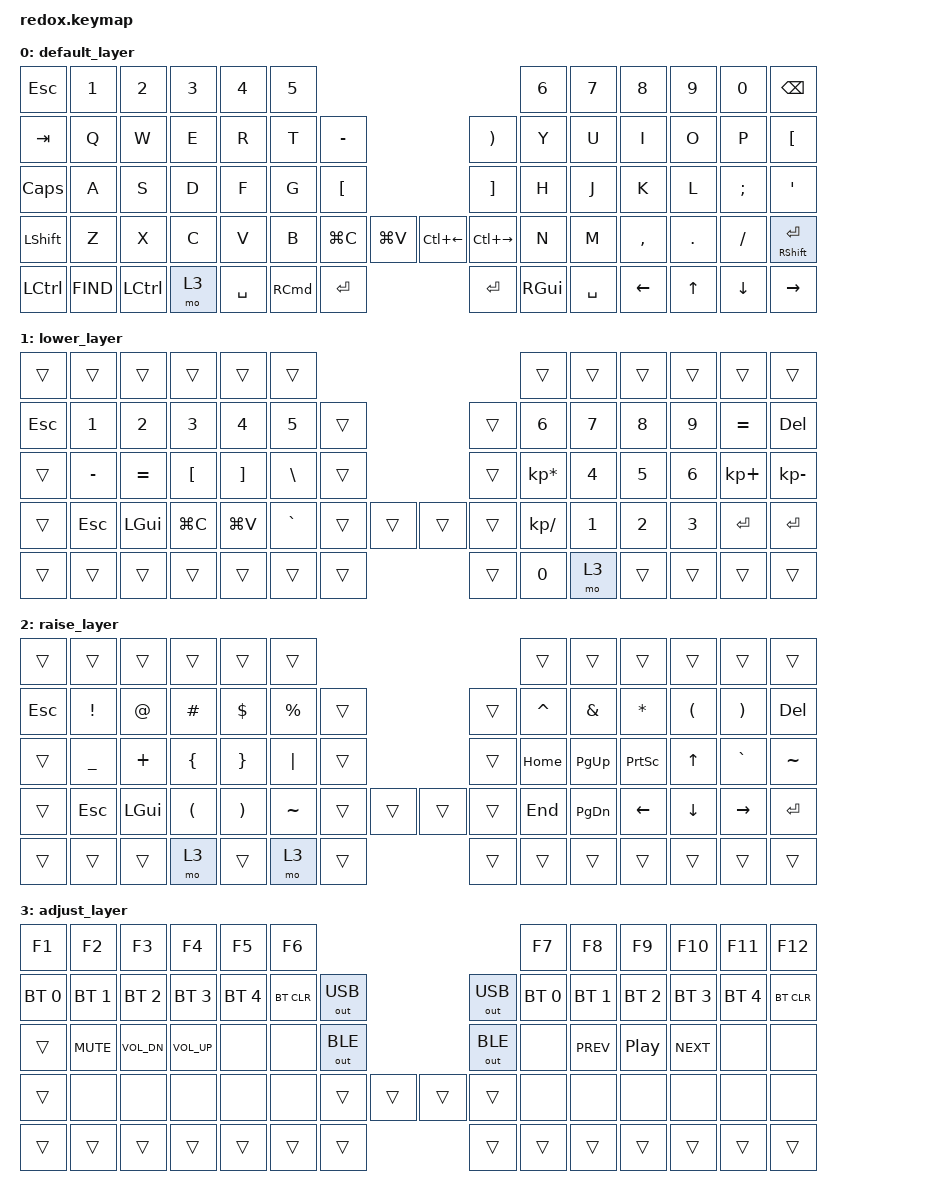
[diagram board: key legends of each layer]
/*
 * Copyright (c) 2021 The ZMK Contributors
 *
 * SPDX-License-Identifier: MIT
 */

#include <behaviors.dtsi>
#include <dt-bindings/zmk/bt.h>
#include <dt-bindings/zmk/keys.h>
#include <dt-bindings/zmk/outputs.h>

/ {
    combos {
        compatible = "zmk,combos";

        copy {
            bindings = <&none>;
            key-positions = <60 43>;
        };

        paste {
            bindings = <&none>;
            key-positions = <60 44>;
        };
    };

    macros {
        copy: copy {
            compatible = "zmk,behavior-macro";
            #binding-cells = <0>;
            bindings = <&kp LEFT_COMMAND &kp C>, <&macro_press>, <&macro_press>;

            label = "COPY";
        };

        paste: paste {
            compatible = "zmk,behavior-macro";
            #binding-cells = <0>;
            bindings = <&kp LEFT_COMMAND &kp V>;
            label = "PASTE";
        };

        screen_left: screen_left {
            compatible = "zmk,behavior-macro";
            #binding-cells = <0>;
            bindings = <&kp RIGHT_CONTROL &kp LEFT_ARROW>;
            label = "SCREEN_LEFT";
        };

        screen_right: screen_right {
            compatible = "zmk,behavior-macro";
            #binding-cells = <0>;
            bindings = <&kp RIGHT_CONTROL &kp RIGHT_ARROW>;
            label = "SCREEN_RIGHT";
        };

        new_macro: new_macro {
            compatible = "zmk,behavior-macro";
            #binding-cells = <0>;
            bindings = <&kp LEFT_COMMAND &kp C>, <&macro_press>;

            label = "NEW_MACRO";
        };
    };

    keymap {
        compatible = "zmk,keymap";

        default_layer {
            // --------------------------------------------------------------------------------------------------------------------------------
            // | ESC   |  1  |  2  |   3   |  4  |  5  |                                  |  6     |  7    |  8    |  9   | 0  |    BKSP   |
            // | TAB   |  Q  |  W  |   E   |  R  |  T  |   (   |                  |  )    |  Y     |  U    |  I    |  O   | P  |     -     |
            // | CTRL  |  A  |  S  |   D   |  F  |  G  |   [   |                  |  ]    |  H     |  J    |  K    |  L   | ;  |     '     |
            // | SHIFT |  Z  |  X  |   C   |  V  |  B  | PG_UP | PG_DOWN |   HOME | END   |  N     |  M    |  ,    |  .   | /  | SHFT(RET) |
            // | CRTL  | ALT | GUI | LOWER |    GUI    | LOWER | SPACE   |   DEL  | SPACE |  RAISE | LEFT  | DOWN | UP |   RIGHT   |

            bindings = <
&kp ESC       &kp N1      &kp N2            &kp N3  &kp N4  &kp N5                                                                            &kp N6             &kp N7  &kp N8          &kp N9        &kp N0          &kp BSPC
&kp TAB       &kp Q       &kp W             &kp E   &kp R   &kp T      &kp MINUS                                         &kp RPAR             &kp Y              &kp U   &kp I           &kp O         &kp P           &kp LBKT
&kp CAPSLOCK  &kp A       &kp S             &kp D   &kp F   &kp G      &kp LBKT                                          &kp RBKT             &kp H              &kp J   &kp K           &kp L         &kp SEMI        &kp SQT
&kp LSHFT     &kp Z       &kp X             &kp C   &kp V   &kp B      &kp LG(C)          &kp LG(V)  &kp LC(LEFT_ARROW)  &kp LC(RIGHT_ARROW)  &kp N              &kp M   &kp COMMA       &kp DOT       &kp FSLH        &mt RSHFT RET
&kp LCTRL     &kp K_FIND  &kp LEFT_CONTROL  &mo 3           &kp SPACE  &kp RIGHT_COMMAND  &kp ENTER  &kp ENTER           &kp RIGHT_GUI                &kp SPACE          &kp LEFT_ARROW  &kp UP_ARROW  &kp DOWN_ARROW  &kp RIGHT
            >;
        };

        lower_layer {
            // --------------------------------------------------------------------------------------------------------------------------
            // | ESC   |  1  |  2  |   3   |   4   |  5  |                   ---              |  6  |  7  |   8  |  9   |  0  |  DEL  |
            // | ESC   |  1  |  2  |   3   |   4   |  5  |   (   |           ---        |  )  |  6  |  7  |   8  |  9   |  0  |  DEL  |
            // | CTRL  |  -  |  =  |   [   |   ]   |  \  |   [   |           ---        |  ]  |  *  |  4  |   5  |  6   |  +  |   -   |
            // | SHIFT | ESC | GUI | COPY  | PASTE |     | PG_UP | PG_DOWN | --- | HOME | END |  \  |  1  |   2  |  3   | RET |  RET  |
            // | CRTL  | ALT | GUI | LOWER |     GUI     | LOWER | SPACE   | --- | DEL  |  0  |    RAISE  | LEFT | DOWN | UP  | RIGHT |

            bindings = <
&trans   &trans     &trans     &trans     &trans     &trans                                     &trans                  &trans  &trans  &trans  &trans       &trans
&kp ESC  &kp N1     &kp N2     &kp N3     &kp N4     &kp N5     &trans                  &trans  &kp N6                  &kp N7  &kp N8  &kp N9  &kp EQUAL    &kp DEL
&trans   &kp MINUS  &kp EQUAL  &kp LBKT   &kp RBKT   &kp BSLH   &trans                  &trans  &kp KP_MULTIPLY         &kp N4  &kp N5  &kp N6  &kp KP_PLUS  &kp KP_MINUS
&trans   &kp ESC    &kp LGUI   &kp LG(C)  &kp LG(V)  &kp GRAVE  &trans  &trans  &trans  &trans  &kp KP_DIVIDE           &kp N1  &kp N2  &kp N3  &kp RET      &kp RET
&trans   &trans     &trans     &trans                &trans     &trans  &trans  &trans  &kp N0                   &mo 3          &trans  &trans  &trans       &trans
            >;
        };

        raise_layer {
            // ----------------------------------------------------------------------------------------------------------------------------
            // | ESC   |  1  |  2  |   3   |  4  |  5  |                   ---                |  6   |  7   |  8   |  9   |  0    |  DEL  |
            // | ESC   |  !  |  @  |   #   |  $  |  %  |   (   |           ---        |  )    |  ^   |  &   |  *   |  (   |  )    |  DEL  |
            // | CTRL  |  _  |  +  |   {   |  }  | "|" |   [   |           ---        |  ]    | HOME | PGUP | PRSC | UP   |  `    |   ~   |
            // | SHIFT | ESC | GUI |   (   |  )  |     | PG_UP | PG_DOWN | --- | HOME | END   | END  | PGDN | LEFT | DOWN | RIGHT |  RET  |
            // | CRTL  | ALT | GUI | LOWER |    GUI    | LOWER | SPACE   | --- | DEL  | SPACE |    RAISE    | LEFT | DOWN | UP    | RIGHT |

            bindings = <
&trans   &trans     &trans    &trans    &trans    &trans                                     &trans             &trans     &trans     &trans    &trans     &trans
&kp ESC  &kp EXCL   &kp AT    &kp HASH  &kp DLLR  &kp PRCNT  &trans                  &trans  &kp CARET          &kp AMPS   &kp ASTRK  &kp LPAR  &kp RPAR   &kp DEL
&trans   &kp UNDER  &kp PLUS  &kp LBRC  &kp RBRC  &kp PIPE   &trans                  &trans  &kp HOME           &kp PG_UP  &kp PSCRN  &kp UP    &kp GRAVE  &kp TILDE
&trans   &kp ESC    &kp LGUI  &kp LPAR  &kp RPAR  &kp TILDE  &trans  &trans  &trans  &trans  &kp END            &kp PG_DN  &kp LEFT   &kp DOWN  &kp RIGHT  &kp RET
&trans   &trans     &trans    &mo 3               &trans     &mo 3   &trans  &trans  &trans             &trans             &trans     &trans    &trans     &trans
            >;
        };

        adjust_layer {
            // -----------------------------------------------------------------------------------------
            // |  F1   |  F2   |    F3    |    F4     |     F5     | F6 |                   ---                | F7  | F8  |  F9  |  F10 | F11 | F12        |
            // | TAB   |       |          |           |            |    | BOOTL |           ---        |  )    | BT1 | BT2 |  BT3 |  BT4 | BT5 | OUTPUT TGL |
            // | CTRL  | MUTE  |  Vol Dn  |  Vol Up   | Play/Pause |    | RESET |           ---        |  ]    | F1  | F2  |  F3  |  F4  | F5  | F6         |
            // | SHIFT | PSCRN |  PSCRN   |   CAPS    |            |    | PG_UP | PG_DOWN | --- | HOME | END   | F7  | F8  |  F9  |  F10 | F11 | F12        |
            // | CRTL  | ALT   |  GUI     |   LOWER   |      GUI        | LOWER | SPACE   | --- | DEL  | SPACE |   RAISE   | LEFT | DOWN | UP  |   RIGHT    |

            bindings = <
&kp F1        &kp F2        &kp F3        &kp F4        &kp F5        &kp F6                                                  &kp F7                &kp F8        &kp F9        &kp F10       &kp F11       &kp F12
&bt BT_SEL 0  &bt BT_SEL 1  &bt BT_SEL 2  &bt BT_SEL 3  &bt BT_SEL 4  &bt BT_CLR  &out OUT_USB                  &out OUT_USB  &bt BT_SEL 0          &bt BT_SEL 1  &bt BT_SEL 2  &bt BT_SEL 3  &bt BT_SEL 4  &bt BT_CLR
&trans        &kp K_MUTE    &kp C_VOL_DN  &kp C_VOL_UP  &none         &none       &out OUT_BLE                  &out OUT_BLE  &none                 &kp C_PREV    &kp C_PP      &kp C_NEXT    &none         &none
&trans        &none         &none         &none         &none         &none       &trans        &trans  &trans  &trans        &none                 &none         &none         &none         &none         &none
&trans        &trans        &trans        &trans                      &trans      &trans        &trans  &trans  &trans                      &trans                &trans        &trans        &trans        &trans
            >;
        };
    };
};
